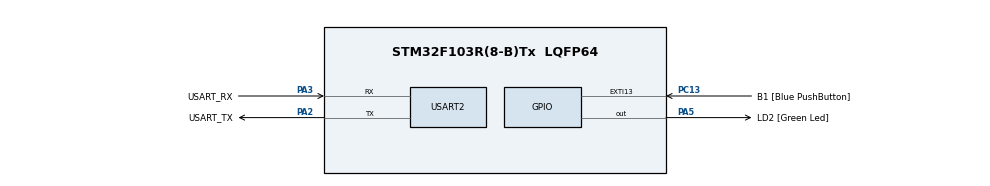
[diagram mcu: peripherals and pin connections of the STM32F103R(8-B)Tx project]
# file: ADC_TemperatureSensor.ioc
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ADC1.Channel-0\#ChannelRegularConversion=ADC_CHANNEL_TEMPSENSOR
ADC1.ContinuousConvMode=ENABLE
ADC1.NbrOfConversionFlag=1
ADC1.Rank-0\#ChannelRegularConversion=1
ADC1.SamplingTime-0\#ChannelRegularConversion=ADC_SAMPLETIME_13CYCLES_5
ADC1.master=1
Mcu.Family=STM32F1
Mcu.Name=STM32F103R(8-B)Tx
Mcu.Package=LQFP64
NVIC.EXTI15_10_IRQn=true\:0\:0\:false\:false\:true\:true\:true\:true
NVIC.PriorityGroup=NVIC_PRIORITYGROUP_4
PA13.GPIO_Label=TMS
PA13.Mode=Serial_Wire
PA13.Signal=SYS_JTMS-SWDIO
PA14.GPIO_Label=TCK
PA14.Mode=Serial_Wire
PA14.Signal=SYS_JTCK-SWCLK
PA2.GPIO_Label=USART_TX
PA2.GPIO_Mode=GPIO_MODE_AF_PP
PA2.GPIO_PuPd=GPIO_NOPULL
PA2.GPIO_Speed=GPIO_SPEED_FREQ_LOW
PA2.Mode=Asynchronous
PA2.Signal=USART2_TX
PA3.GPIO_Label=USART_RX
PA3.GPIO_Mode=GPIO_MODE_AF_PP
PA3.GPIO_PuPd=GPIO_NOPULL
PA3.GPIO_Speed=GPIO_SPEED_FREQ_LOW
PA3.Mode=Asynchronous
PA3.Signal=USART2_RX
PA5.GPIO_Label=LD2 [Green Led]
PA5.GPIO_ModeDefaultOutputPP=GPIO_MODE_OUTPUT_PP
PA5.GPIO_PuPd=GPIO_NOPULL
PA5.GPIO_Speed=GPIO_SPEED_FREQ_LOW
PA5.Signal=GPIO_Output
PB3.GPIO_Label=SWO
PB3.Signal=SYS_JTDO-TRACESWO
PC13-TAMPER-RTC.GPIO_Label=B1 [Blue PushButton]
PC13-TAMPER-RTC.GPIO_PuPd=GPIO_NOPULL
PC13-TAMPER-RTC.Signal=GPXTI13
PC14-OSC32_IN.Signal=RCC_OSC32_IN
PC15-OSC32_OUT.Signal=RCC_OSC32_OUT
PD0-OSC_IN.Signal=RCC_OSC_IN
PD1-OSC_OUT.Signal=RCC_OSC_OUT
ProjectManager.HeapSize=0x200
ProjectManager.StackSize=0x400
ProjectManager.TargetToolchain=STM32CubeIDE
RCC.ADCPresc=RCC_ADCPCLK2_DIV8
RCC.AHBFreq_Value=64000000
RCC.APB1CLKDivider=RCC_HCLK_DIV2
RCC.APB1Freq_Value=32000000
RCC.APB1TimFreq_Value=64000000
RCC.APB2Freq_Value=64000000
RCC.APB2TimFreq_Value=64000000
RCC.HCLKFreq_Value=64000000
RCC.PLLMUL=RCC_PLL_MUL16
RCC.RTCClockSelection=RCC_RTCCLKSOURCE_LSE
RCC.SYSCLKFreq_VALUE=64000000
RCC.SYSCLKSource=RCC_SYSCLKSOURCE_PLLCLK
RCC.USBFreq_Value=64000000
USART2.VirtualMode=VM_ASYNC
VP_ADC1_TempSens_Input.Mode=IN-TempSens
board=NUCLEO-F103RB

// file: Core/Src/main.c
/* USER CODE BEGIN Header */
/**
 ******************************************************************************
 * @file           : main.c
 * @brief          : Main program body
 ******************************************************************************
 * @attention
 *
 * Copyright (c) 2025 STMicroelectronics.
 * All rights reserved.
 *
 * This software is licensed under terms that can be found in the LICENSE file
 * in the root directory of this software component.
 * If no LICENSE file comes with this software, it is provided AS-IS.
 *
 ******************************************************************************
 */
/* USER CODE END Header */
#include "main.h"

/* USER CODE BEGIN Includes */
#include "stdio.h"
/* USER CODE END Includes */

ADC_HandleTypeDef hadc1;

UART_HandleTypeDef huart2;

/* USER CODE BEGIN PV */
const float AVG_SLOPE = 4.3E-03;
const float V25 = 1.43;
const float ADC_TO_VOLT = 3.3 / 4096;
/* USER CODE END PV */

void SystemClock_Config(void);
static void MX_GPIO_Init(void);
static void MX_USART2_UART_Init(void);
static void MX_ADC1_Init(void);

/* USER CODE BEGIN 0 */
#ifdef __GNUC__
#define PUTCHAR_PROTOTYPE int __io_putchar(int ch)
#else
#define PUTCHAR_PROTOTYPE int fputc(int ch, FILE *f)
#endif

PUTCHAR_PROTOTYPE {
	if (ch == '\n')
		HAL_UART_Transmit(&huart2, (uint8_t*) "\r", 1, 0xFFFF);

	HAL_UART_Transmit(&huart2, (uint8_t*) &ch, 1, 0xFFFF);

	return ch;

}
/* USER CODE END 0 */

int main(void) {

	/* MCU Configuration--------------------------------------------------------*/

	/* Reset of all peripherals, Initializes the Flash interface and the Systick. */
	HAL_Init();

	/* Configure the system clock */
	SystemClock_Config();

	/* Initialize all configured peripherals */
	MX_GPIO_Init();
	MX_USART2_UART_Init();
	MX_ADC1_Init();
	/* USER CODE BEGIN 2 */
	uint16_t adc1;
	float vSense;
	float temp;
	/* USER CODE END 2 */

	/* Infinite loop */
	/* USER CODE BEGIN WHILE */
	if (HAL_ADCEx_Calibration_Start(&hadc1) != HAL_OK) {
		Error_Handler();
	}
	if (HAL_ADC_Start(&hadc1) != HAL_OK) {
		Error_Handler();
	}
	int count = 0;
	while (1) {
		count++;
		if ( count >0 && count < 101) {
			HAL_ADC_PollForConversion(&hadc1, 100);
			adc1 = HAL_ADC_GetValue(&hadc1);
			//	printf("ADC_temperature: %d \n", adc1);
			vSense = adc1 * ADC_TO_VOLT;
			temp = (V25 - vSense) / AVG_SLOPE + 25.0;
			printf("%d : temperature : %d, %f \n",count, adc1, temp);

			HAL_Delay(500);
		}
		else {
			printf("end\n");
			break;
		}

		/* USER CODE END WHILE */

}
}

void SystemClock_Config(void) {
RCC_OscInitTypeDef RCC_OscInitStruct = { 0 };
RCC_ClkInitTypeDef RCC_ClkInitStruct = { 0 };
RCC_PeriphCLKInitTypeDef PeriphClkInit = { 0 };

/** Initializes the RCC Oscillators according to the specified parameters
 * in the RCC_OscInitTypeDef structure.
 */
RCC_OscInitStruct.OscillatorType = RCC_OSCILLATORTYPE_HSI;
RCC_OscInitStruct.HSIState = RCC_HSI_ON;
RCC_OscInitStruct.HSICalibrationValue = RCC_HSICALIBRATION_DEFAULT;
RCC_OscInitStruct.PLL.PLLState = RCC_PLL_ON;
RCC_OscInitStruct.PLL.PLLSource = RCC_PLLSOURCE_HSI_DIV2;
RCC_OscInitStruct.PLL.PLLMUL = RCC_PLL_MUL16;
if (HAL_RCC_OscConfig(&RCC_OscInitStruct) != HAL_OK) {
	Error_Handler();
}

/** Initializes the CPU, AHB and APB buses clocks
 */
RCC_ClkInitStruct.ClockType = RCC_CLOCKTYPE_HCLK | RCC_CLOCKTYPE_SYSCLK
		| RCC_CLOCKTYPE_PCLK1 | RCC_CLOCKTYPE_PCLK2;
RCC_ClkInitStruct.SYSCLKSource = RCC_SYSCLKSOURCE_PLLCLK;
RCC_ClkInitStruct.AHBCLKDivider = RCC_SYSCLK_DIV1;
RCC_ClkInitStruct.APB1CLKDivider = RCC_HCLK_DIV2;
RCC_ClkInitStruct.APB2CLKDivider = RCC_HCLK_DIV1;

if (HAL_RCC_ClockConfig(&RCC_ClkInitStruct, FLASH_LATENCY_2) != HAL_OK) {
	Error_Handler();
}
PeriphClkInit.PeriphClockSelection = RCC_PERIPHCLK_ADC;
PeriphClkInit.AdcClockSelection = RCC_ADCPCLK2_DIV8;
if (HAL_RCCEx_PeriphCLKConfig(&PeriphClkInit) != HAL_OK) {
	Error_Handler();
}
}

static void MX_ADC1_Init(void) {

ADC_ChannelConfTypeDef sConfig = { 0 };

/** Common config
 */
hadc1.Instance = ADC1;
hadc1.Init.ScanConvMode = ADC_SCAN_DISABLE;
hadc1.Init.ContinuousConvMode = ENABLE;
hadc1.Init.DiscontinuousConvMode = DISABLE;
hadc1.Init.ExternalTrigConv = ADC_SOFTWARE_START;
hadc1.Init.DataAlign = ADC_DATAALIGN_RIGHT;
hadc1.Init.NbrOfConversion = 1;
if (HAL_ADC_Init(&hadc1) != HAL_OK) {
	Error_Handler();
}

/** Configure Regular Channel
 */
sConfig.Channel = ADC_CHANNEL_TEMPSENSOR;
sConfig.Rank = ADC_REGULAR_RANK_1;
sConfig.SamplingTime = ADC_SAMPLETIME_13CYCLES_5;
if (HAL_ADC_ConfigChannel(&hadc1, &sConfig) != HAL_OK) {
	Error_Handler();
}

}

static void MX_USART2_UART_Init(void) {

huart2.Instance = USART2;
huart2.Init.BaudRate = 115200;
huart2.Init.WordLength = UART_WORDLENGTH_8B;
huart2.Init.StopBits = UART_STOPBITS_1;
huart2.Init.Parity = UART_PARITY_NONE;
huart2.Init.Mode = UART_MODE_TX_RX;
huart2.Init.HwFlowCtl = UART_HWCONTROL_NONE;
huart2.Init.OverSampling = UART_OVERSAMPLING_16;
if (HAL_UART_Init(&huart2) != HAL_OK) {
	Error_Handler();
}

}

static void MX_GPIO_Init(void) {
GPIO_InitTypeDef GPIO_InitStruct = { 0 };

/* GPIO Ports Clock Enable */
__HAL_RCC_GPIOC_CLK_ENABLE();
__HAL_RCC_GPIOD_CLK_ENABLE();
__HAL_RCC_GPIOA_CLK_ENABLE();
__HAL_RCC_GPIOB_CLK_ENABLE();

/*Configure GPIO pin Output Level */
HAL_GPIO_WritePin(LD2_GPIO_Port, LD2_Pin, GPIO_PIN_RESET);

/*Configure GPIO pin : B1_Pin */
GPIO_InitStruct.Pin = B1_Pin;
GPIO_InitStruct.Mode = GPIO_MODE_IT_RISING;
GPIO_InitStruct.Pull = GPIO_NOPULL;
HAL_GPIO_Init(B1_GPIO_Port, &GPIO_InitStruct);

/*Configure GPIO pin : LD2_Pin */
GPIO_InitStruct.Pin = LD2_Pin;
GPIO_InitStruct.Mode = GPIO_MODE_OUTPUT_PP;
GPIO_InitStruct.Pull = GPIO_NOPULL;
GPIO_InitStruct.Speed = GPIO_SPEED_FREQ_LOW;
HAL_GPIO_Init(LD2_GPIO_Port, &GPIO_InitStruct);

/* EXTI interrupt init*/
HAL_NVIC_SetPriority(EXTI15_10_IRQn, 0, 0);
HAL_NVIC_EnableIRQ(EXTI15_10_IRQn);

}

void Error_Handler(void) {
__disable_irq();
while (1) {
}
}
